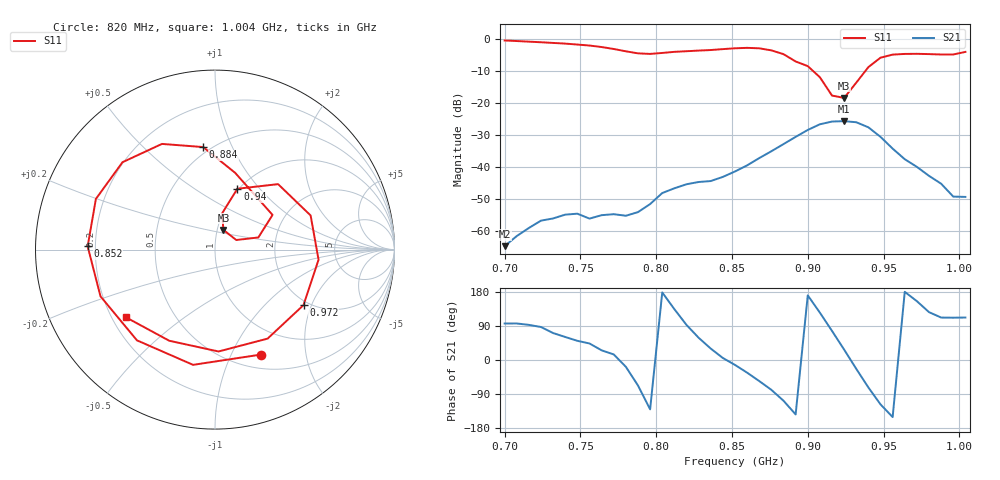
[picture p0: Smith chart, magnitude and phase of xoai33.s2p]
# Hz S RI R 50
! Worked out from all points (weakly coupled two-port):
!   39 points, 700 MHz to 1.004 GHz, reference 50 ohm
!   highest |S21| = -25.71 dB at 924 MHz (marker M1); lowest = -64.7 dB at 700 MHz (marker M2)
!   lowest |S11| = -18.5 dB at 924 MHz (marker M3), VSWR 1.27, Z = 53.5 + j11.9 ohm
!   |S11| at or under -10 dB: 903.4 MHz to 938.1 MHz (34.73 MHz wide, 3.77 % of centre)
!   S12 and S22 are empty: the file has one direction only
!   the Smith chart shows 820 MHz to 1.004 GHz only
!   S11 on the Smith chart (normalised r, x): 820 MHz: 0.66, -1.31; 852 MHz: 0.17, +0.01; 884 MHz: 0.46, +0.78; 940 MHz: 0.99, +0.77; 972 MHz: 1.88, -1.75; 1.004 GHz: 0.26, -0.32
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7e8  0.7602 0.5537  -6.38e-05 0.000578  0 0  0 0
7.24e8  0.8448 -0.2524  7.44e-05 0.00145  0 0  0 0
7.4e8  0.4556 -0.7056  0.000882 0.00157  0 0  0 0
7.56e8  -0.1959 -0.7587  0.00113 0.00108  0 0  0 0
7.72e8  -0.6654 -0.1905  0.00177 0.000463  0 0  0 0
7.8e8  -0.5916 0.2359  0.00165 -0.000535  0 0  0 0
7.88e8  -0.2348 0.5433  0.000762 -0.00182  0 0  0 0
7.96e8  0.2565 0.5203  -0.0017 -0.00201  0 0  0 0
8.04e8  0.5789 0.1591  -0.00392 0.000116  0 0  0 0
8.2e8  0.2575 -0.5847  -0.000238 0.00536  0 0  0 0
8.36e8  -0.4348 -0.5056  0.00522 0.00302  0 0  0 0
8.52e8  -0.7095 0.0179  0.00829 -0.00191  0 0  0 0
8.68e8  -0.5154 0.4868  0.00776 -0.0113  0 0  0 0
8.84e8  -0.0659 0.5712  -0.00683 -0.0217  0 0  0 0
9e8  0.3205 0.1932  -0.0373 0.00615  0 0  0 0
9.08e8  0.2416 0.0676  -0.0265 0.038  0 0  0 0
9.24e8  0.0467 0.1099  0.046 0.0239  0 0  0 0
9.4e8  0.1247 0.339  0.0125 -0.0396  0 0  0 0
9.56e8  0.5328 0.1902  -0.0168 -0.0095  0 0  0 0
9.72e8  0.4931 -0.3092  -0.0091 0.00421  0 0  0 0
9.88e8  0.0197 -0.5677  -0.00205 0.00508  0 0  0 0
1.004e9  -0.4964 -0.3771  -0.00128 0.00316  0 0  0 0
